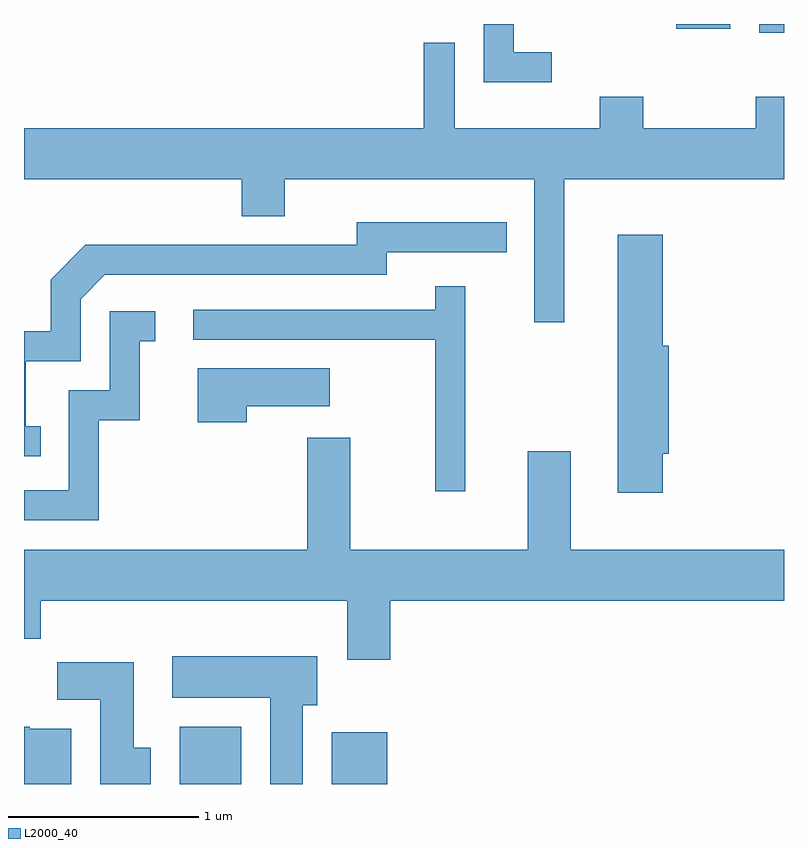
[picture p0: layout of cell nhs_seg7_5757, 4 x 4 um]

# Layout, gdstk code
import gdstk
lib = gdstk.Library(unit=1e-6, precision=1e-09)
def R(c, l, rs):  # rectangles x0, y0, x1, y1
    for r in rs: c.add(gdstk.rectangle(r[:2], r[2:], *l))
def P(c, l, *ps):  # polygons
    for p in ps: c.add(gdstk.Polygon(p, *l))
L2000_40 = (2000, 40)

nhs_seg7_5757 = lib.new_cell('nhs_seg7_5757')
R(nhs_seg7_5757, L2000_40, [(362.431,1702.252,362.754,1702.554), (363.231,1702.252,363.524,1702.524), (365.481,1706.206,365.611,1706.252), (365.043,1706.226,365.329,1706.252)])
P(nhs_seg7_5757, L2000_40, [(364.388,1706.104),(364.189,1706.104),(364.189,1706.252),(364.031,1706.252),(364.031,1705.946),(364.388,1705.946)],
  [(364.454,1705.436),(365.611,1705.436),(365.611,1705.869),(365.461,1705.869),(365.461,1705.704),(364.869,1705.704),(364.869,1705.869),(364.641,1705.869),(364.641,1705.704),(363.879,1705.704),(363.879,1706.153),(363.716,1706.153),(363.716,1705.704),(361.611,1705.704),(361.611,1705.436),(362.756,1705.436),(362.756,1705.241),(362.984,1705.241),(362.984,1705.436),(364.296,1705.436),(364.296,1704.683),(364.454,1704.683)],
  [(361.698,1704.134),(361.619,1704.134),(361.619,1704.476),(361.909,1704.476),(361.909,1704.804),(362.037,1704.931),(363.519,1704.931),(363.519,1705.051),(364.153,1705.051),(364.153,1705.209),(363.361,1705.209),(363.361,1705.089),(361.934,1705.089),(361.751,1704.907),(361.751,1704.634),(361.611,1704.634),(361.611,1703.976),(361.698,1703.976)],
  [(364.974,1703.991),(365.004,1703.991),(365.004,1704.559),(364.974,1704.559),(364.974,1705.144),(364.736,1705.144),(364.736,1703.786),(364.974,1703.786)],
  [(363.934,1704.873),(363.776,1704.873),(363.776,1704.749),(362.503,1704.749),(362.503,1704.591),(363.776,1704.591),(363.776,1703.793),(363.934,1703.793)],
  [(362.004,1704.166),(362.219,1704.166),(362.219,1704.581),(362.303,1704.581),(362.303,1704.739),(362.061,1704.739),(362.061,1704.324),(361.846,1704.324),(361.846,1703.799),(361.611,1703.799),(361.611,1703.641),(362.004,1703.641)],
  [(362.784,1704.241),(363.219,1704.241),(363.219,1704.439),(362.526,1704.439),(362.526,1704.156),(362.784,1704.156)],
  [(363.539,1703.216),(365.611,1703.216),(365.611,1703.484),(364.489,1703.484),(364.489,1704.004),(364.261,1704.004),(364.261,1703.484),(363.329,1703.484),(363.329,1704.074),(363.101,1704.074),(363.101,1703.484),(361.611,1703.484),(361.611,1703.016),(361.699,1703.016),(361.699,1703.216),(363.311,1703.216),(363.311,1702.906),(363.539,1702.906)],
  [(363.079,1702.666),(363.154,1702.666),(363.154,1702.924),(362.391,1702.924),(362.391,1702.706),(362.906,1702.706),(362.906,1702.252),(363.079,1702.252)],
  [(362.279,1702.444),(362.189,1702.444),(362.189,1702.894),(361.786,1702.894),(361.786,1702.696),(362.011,1702.696),(362.011,1702.252),(362.279,1702.252)],
  [(361.859,1702.544),(361.64,1702.544),(361.64,1702.554),(361.611,1702.554),(361.611,1702.252),(361.859,1702.252)])

lib.write_gds('nhs_seg7_5757.gds')
